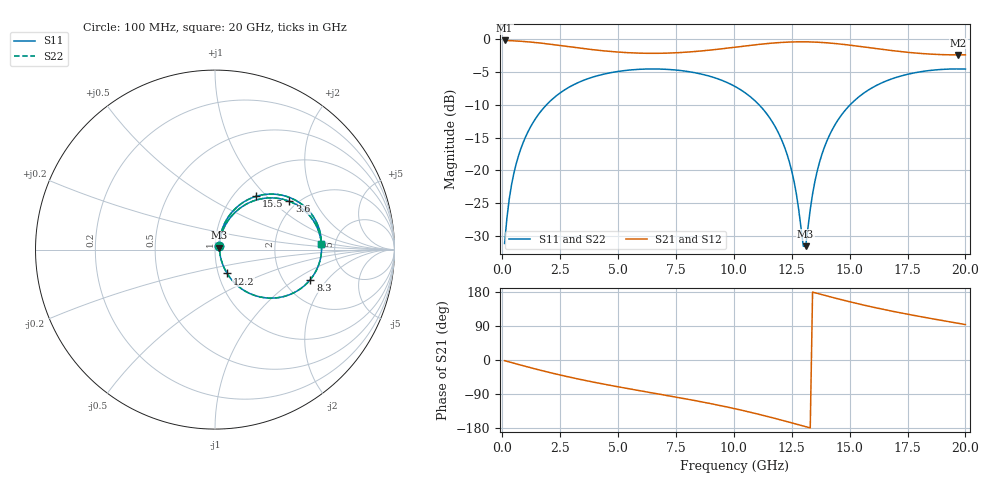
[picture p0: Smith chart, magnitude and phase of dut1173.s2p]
! Touchstone file exported from HFSS 2026.1.0
!  File:  C:/ffzhzh/LocalFiles/Ansys_Project_Files/temp_train_TSV_RDL_1173_1783314724_38820.aedt
!  Generated:  01:22:23 PM Jul  6, 2026
!  Design:  TSV_RDL
!  Project:  temp_train_TSV_RDL_1173_1783314724_38820
! Variables:
!  h_bsmrdl = 5.72um
!  h_ox = 20um
!  h_rdl = 5um
!  h_sub = 89.9um
!  h_tmrdl = 3.57um
!  h_tsv = 89.9um
!  h_via = 3um
!  l_bsmrdl = 178.82um
!  l_sub = 4372.98um
!  l_tmrdl = 835.1um
!  m_sub = 200um
!  pitch = 59.72um
!  r_tsv = 11.47um
!  s_tmrdl = 10um
!  w_bsmrdl = 11.28um
!  w_sub = 500um
!  w_tmrdl = 20.76um
!  x_tsv_center1 = 845.48um
!  x_tsv_center2 = 1035.58um
!  x_tsv_center3 = 1891.44um
!  x_tsv_center4 = 2081.54um
!  x_tsv_center5 = 2937.4um
!  x_tsv_center6 = 3127.5um
# GHz S MA R 50.000000
! Terminal data exported
! Port[1] = TM_RDL1_1_T1
! Port[2] = TM_RDL5_1_T1
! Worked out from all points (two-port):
!   200 points, 100 MHz to 20 GHz, reference 50 ohm
!   highest |S21| = -0.18 dB at 100 MHz (marker M1); lowest = -2.4 dB at 19.7 GHz (marker M2)
!   |S21| within 3 dB of the highest: start of sweep to end of sweep
!   lowest |S11| = -31.6 dB at 13.1 GHz (marker M3), VSWR 1.05, Z = 52.5 + j1.04 ohm
!   |S11| at or under -10 dB: start of sweep to 1.908 GHz; 11.09 GHz to 15.02 GHz (3.928 GHz wide, 30.1 % of centre)
!   |S22| runs from -31.5 to -4.5 dB; largest |S21 - S12| = 1.7e-14
!   S11 on the Smith chart (normalised r, x): 100 MHz: 1.04, +0.04; 3.6 GHz: 1.82, +1.29; 8.3 GHz: 2.78, -1.35; 12.2 GHz: 1.10, -0.30; 15.5 GHz: 1.26, +0.87; 20 GHz: 3.88, +0.35
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0.1  0.02773 42.3  0.9799 -1.8  0.9799 -1.8  0.02773 42.3
! Gamma 0 0 0 0
! Port Impedance 50 0 50 0
0.3  0.0605 64.1  0.977 -5.2  0.977 -5.2  0.0605 64.1
0.5  0.09507 67.7  0.9732 -8.6  0.9732 -8.6  0.09507 67.7
1.1  0.1955 64.5  0.9569 -18.4  0.9569 -18.4  0.1955 64.5
2.1  0.3417 52.1  0.9155 -33.8  0.9155 -33.8  0.3417 52.1
3.5  0.4858 34.3  0.85 -53.0  0.85 -53.0  0.4858 34.3
3.6  0.4935 33.1  0.8457 -54.2  0.8457 -54.2  0.4935 33.1
6.8  0.593 -1.6  0.7822 -90.2  0.7822 -90.2  0.593 -1.6
8.3  0.5568 -17.5  0.8062 -106.8  0.8062 -106.8  0.5568 -17.5
10.1  0.432 -38.6  0.8724 -129.3  0.8724 -129.3  0.432 -38.5
11.3  0.2876 -53.8  0.9229 -146.7  0.9229 -146.7  0.2876 -53.8
12.2  0.1488 -63.1  0.9497 -161.0  0.9497 -161.0  0.1489 -63.1
12.6  0.0825 -61.6  0.9556 -167.5  0.9556 -167.5  0.08255 -61.5
13  0.02645 -15.1  0.957 -174.2  0.957 -174.2  0.02661 -15.0
13.1  0.02643 22.0  0.9566 -175.9  0.9566 -175.9  0.0266 21.9
13.4  0.06604 65.6  0.9538 179.2  0.9538 179.2  0.06611 65.5
13.7  0.1154 70.5  0.9484 174.2  0.9484 174.2  0.1155 70.4
14.2  0.1966 67.8  0.9344 166.1  0.9344 166.1  0.1967 67.8
15.5  0.376 52.2  0.8796 146.5  0.8796 146.5  0.376 52.2
16.7  0.4902 37.6  0.8254 130.5  0.8254 130.5  0.4902 37.6
19.7  0.5944 5.8  0.7604 96.7  0.7604 96.7  0.5944 5.8
20  0.5932 2.8  0.7613 93.5  0.7613 93.5  0.5932 2.8
